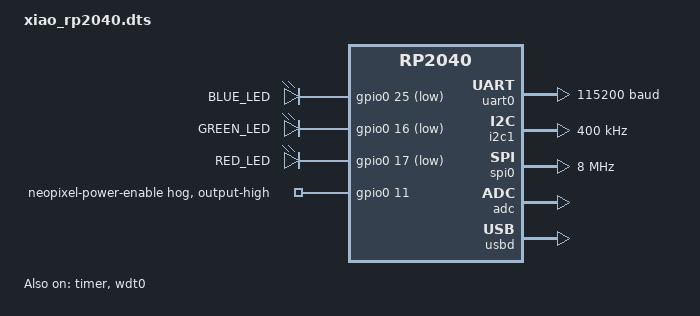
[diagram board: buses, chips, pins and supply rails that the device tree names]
/*
 * Copyright (c) 2021 Yonatan Schachter
 * Copyright (c) 2023 Seeed Studio inc.
 *
 * SPDX-License-Identifier: Apache-2.0
 */

/dts-v1/;

#include <raspberrypi/rpi_pico/rp2040.dtsi>
#include "xiao_rp2040-pinctrl.dtsi"
#include "seeed_xiao_connector.dtsi"
#include <freq.h>
#include <zephyr/dt-bindings/led/led.h>
#include <zephyr/dt-bindings/pwm/pwm.h>

/ {
	chosen {
		zephyr,sram = &sram0;
		zephyr,flash = &flash0;
		zephyr,flash-controller = &ssi;
		zephyr,console = &uart0;
		zephyr,shell-uart = &uart0;
		zephyr,code-partition = &code_partition;
	};

	aliases {
		watchdog0 = &wdt0;
		led-strip = &ws2812;
		pwm-led0 = &pwm_led0;
		led0 = &blue_led;
		led1 = &green_led;
		led2 = &red_led;
	};

	pwm_leds {
		compatible = "pwm-leds";
		status = "disabled";
		pwm_led0: pwm_led_0 {
			pwms = <&pwm 9 PWM_MSEC(20) PWM_POLARITY_INVERTED>;
			label = "PWM_LED";
		};
	};

	leds {
		compatible = "gpio-leds";

		blue_led: blue_led {
			gpios = <&gpio0 25 GPIO_ACTIVE_LOW>;
			label = "BLUE_LED";
		};

		green_led: green_led {
			gpios = <&gpio0 16 GPIO_ACTIVE_LOW>;
			label = "GREEN_LED";
		};

		red_led: red_led {
			gpios = <&gpio0 17 GPIO_ACTIVE_LOW>;
			label = "RED_LED";
		};
	};
};

&pwm {
	pinctrl-0 = <&pwm_ch4b_default>;
	pinctrl-names = "default";
	divider-int-0 = <255>;
};

&flash0 {
	/*
	 * 2MB of flash minus the 0x100 used for the second stage bootloader
	 */
	reg = <0x10000000 DT_SIZE_M(2)>;

	partitions {
		compatible = "fixed-partitions";
		#address-cells = <1>;
		#size-cells = <1>;

		/* Reserved memory for the second stage bootloader */
		second_stage_bootloader: partition@0 {
			label = "second_stage_bootloader";
			reg = <0x00000000 0x100>;
			read-only;
		};

		/*
		 * Usable flash. Starts at 0x100, after the bootloader. The partition
		 * size is 2MB minus the 0x100 bytes taken by the bootloader.
		 */
		code_partition: partition@100 {
			label = "code";
			reg = <0x100 (DT_SIZE_M(2) - 0x100)>;
			read-only;
		};
	};
};

&timer {
	status = "okay";
};

&uart0 {
	current-speed = <115200>;
	status = "okay";
	pinctrl-0 = <&uart0_default>;
	pinctrl-names = "default";
};

&i2c1 {
	status = "okay";
	pinctrl-0 = <&i2c1_default>;
	pinctrl-names = "default";
	clock-frequency = <I2C_BITRATE_FAST>;
};

&spi0 {
	status = "okay";
	pinctrl-0 = <&spi0_default>;
	pinctrl-names = "default";
	clock-frequency = <DT_FREQ_M(8)>;
};

&gpio0 {
	status = "okay";

	/*
	 * The neopixel on this board has its positive side hooked up to a GPIO pin
	 * rather than a positive voltage rail to save on power. This will enable
	 * the LED on board initialization.
	 */
	neopixel-power-enable {
		gpio-hog;
		gpios = <11 GPIO_ACTIVE_HIGH>;
		output-high;
	};
};

&wdt0 {
	status = "okay";
};

&adc {
	status = "okay";
	pinctrl-0 = <&adc_default>;
	pinctrl-names = "default";
};

&pio0 {
	status = "okay";

	pio-ws2812 {
		compatible = "worldsemi,ws2812-rpi_pico-pio";
		status = "okay";
		pinctrl-0 = <&ws2812_pio0_default>;
		pinctrl-names = "default";
		bit-waveform = <3>, <3>, <4>;

		ws2812: ws2812 {
			status = "okay";
			gpios = <&gpio0 12 GPIO_ACTIVE_HIGH>;
			chain-length = <1>;
			color-mapping = <LED_COLOR_ID_GREEN
					LED_COLOR_ID_RED
					LED_COLOR_ID_BLUE>;
			reset-delay = <280>;
			frequency = <800000>;
		};
	};
};

zephyr_udc0: &usbd {
	status = "okay";
};

&vreg {
	regulator-always-on;
	regulator-allowed-modes = <REGULATOR_RPI_PICO_MODE_NORMAL>;
};

&xosc {
	startup-delay-multiplier = <64>;
};
